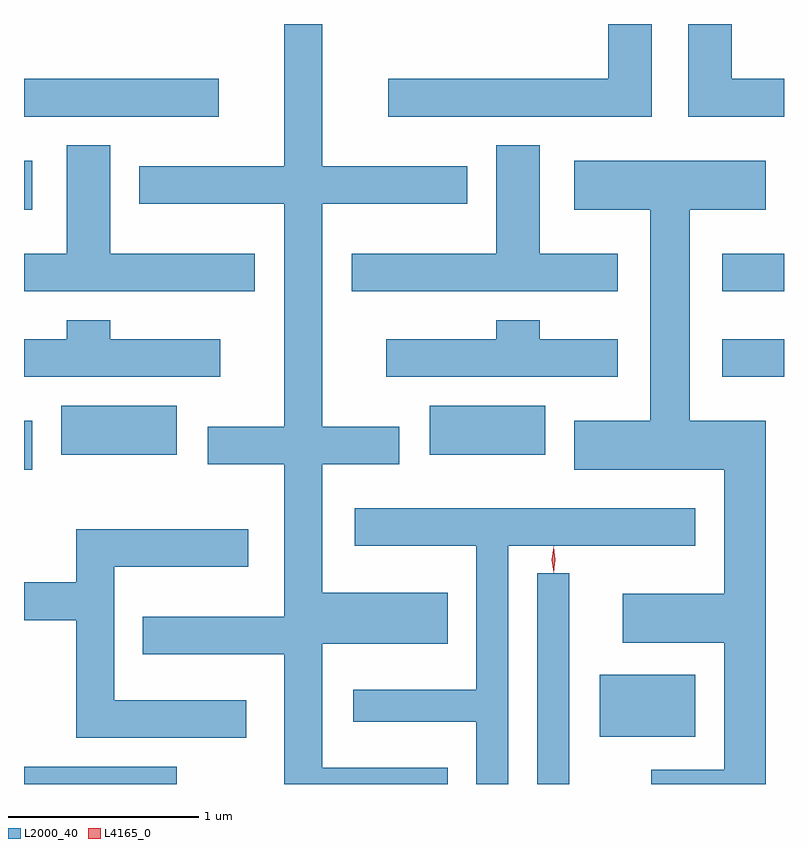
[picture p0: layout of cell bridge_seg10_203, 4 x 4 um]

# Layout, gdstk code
import gdstk
lib = gdstk.Library(unit=1e-6, precision=1e-09)
def R(c, l, rs):  # rectangles x0, y0, x1, y1
    for r in rs: c.add(gdstk.rectangle(r[:2], r[2:], *l))
def P(c, l, *ps):  # polygons
    for p in ps: c.add(gdstk.Polygon(p, *l))
L2000_40 = (2000, 40)
L4165_0 = (4165, 0)

bridge_seg10_203 = lib.new_cell('bridge_seg10_203')
R(bridge_seg10_203, L2000_40, [(1740.14,2141.063,1740.944,2141.154), (1742.841,2141.063,1743.009,2142.173), (1743.171,2141.311,1743.674,2141.639), (1740.14,2142.716,1740.184,2142.974), (1740.336,2142.796,1740.944,2143.054), (1742.276,2142.796,1742.884,2143.054), (1743.816,2143.206,1744.14,2143.404), (1743.816,2143.656,1744.14,2143.854), (1740.14,2144.086,1740.184,2144.344), (1740.14,2144.576,1741.164,2144.774)])
P(bridge_seg10_203, L2000_40, [(1742.369,2141.149),(1741.709,2141.149),(1741.709,2141.801),(1742.369,2141.801),(1742.369,2142.069),(1741.709,2142.069),(1741.709,2142.746),(1742.114,2142.746),(1742.114,2142.944),(1741.709,2142.944),(1741.709,2144.116),(1742.474,2144.116),(1742.474,2144.314),(1741.709,2144.314),(1741.709,2145.063),(1741.511,2145.063),(1741.511,2144.314),(1740.746,2144.314),(1740.746,2144.116),(1741.511,2144.116),(1741.511,2142.944),(1741.106,2142.944),(1741.106,2142.746),(1741.511,2142.746),(1741.511,2141.944),(1740.766,2141.944),(1740.766,2141.746),(1741.511,2141.746),(1741.511,2141.063),(1742.369,2141.063)],
  [(1743.444,2145.063),(1743.216,2145.063),(1743.216,2144.774),(1742.056,2144.774),(1742.056,2144.576),(1743.444,2144.576)],
  [(1744.14,2144.774),(1743.864,2144.774),(1743.864,2145.063),(1743.636,2145.063),(1743.636,2144.576),(1744.14,2144.576)],
  [(1743.264,2143.854),(1742.854,2143.854),(1742.854,2144.424),(1742.626,2144.424),(1742.626,2143.854),(1741.866,2143.854),(1741.866,2143.656),(1743.264,2143.656)],
  [(1741.354,2143.854),(1740.594,2143.854),(1740.594,2144.424),(1740.366,2144.424),(1740.366,2143.854),(1740.14,2143.854),(1740.14,2143.656),(1741.354,2143.656)],
  [(1744.044,2142.974),(1743.644,2142.974),(1743.644,2144.086),(1744.044,2144.086),(1744.044,2144.344),(1743.036,2144.344),(1743.036,2144.086),(1743.436,2144.086),(1743.436,2142.974),(1743.036,2142.974),(1743.036,2142.716),(1743.826,2142.716),(1743.826,2142.064),(1743.291,2142.064),(1743.291,2141.806),(1743.826,2141.806),(1743.826,2141.139),(1743.441,2141.139),(1743.441,2141.063),(1744.044,2141.063)],
  [(1741.174,2143.404),(1740.594,2143.404),(1740.594,2143.504),(1740.366,2143.504),(1740.366,2143.404),(1740.14,2143.404),(1740.14,2143.206),(1741.174,2143.206)],
  [(1743.264,2143.404),(1742.854,2143.404),(1742.854,2143.504),(1742.626,2143.504),(1742.626,2143.404),(1742.046,2143.404),(1742.046,2143.206),(1743.264,2143.206)],
  [(1742.689,2142.316),(1743.674,2142.316),(1743.674,2142.514),(1741.881,2142.514),(1741.881,2142.316),(1742.521,2142.316),(1742.521,2141.559),(1741.873,2141.559),(1741.873,2141.391),(1742.521,2141.391),(1742.521,2141.063),(1742.689,2141.063)],
  [(1741.309,2141.504),(1740.614,2141.504),(1740.614,2142.206),(1741.319,2142.206),(1741.319,2142.404),(1740.416,2142.404),(1740.416,2142.124),(1740.14,2142.124),(1740.14,2141.926),(1740.416,2141.926),(1740.416,2141.306),(1741.309,2141.306)])
P(bridge_seg10_203, L4165_0, [(1742.927,2142.178),(1742.927,2142.178),(1742.917,2142.244),(1742.927,2142.311),(1742.927,2142.311),(1742.928,2142.311),(1742.937,2142.244),(1742.928,2142.178)],
  [(1742.927,2142.174),(1742.927,2142.175),(1742.917,2142.244),(1742.927,2142.313),(1742.927,2142.314),(1742.928,2142.313),(1742.937,2142.244),(1742.928,2142.175)])

lib.write_gds('bridge_seg10_203.gds')
